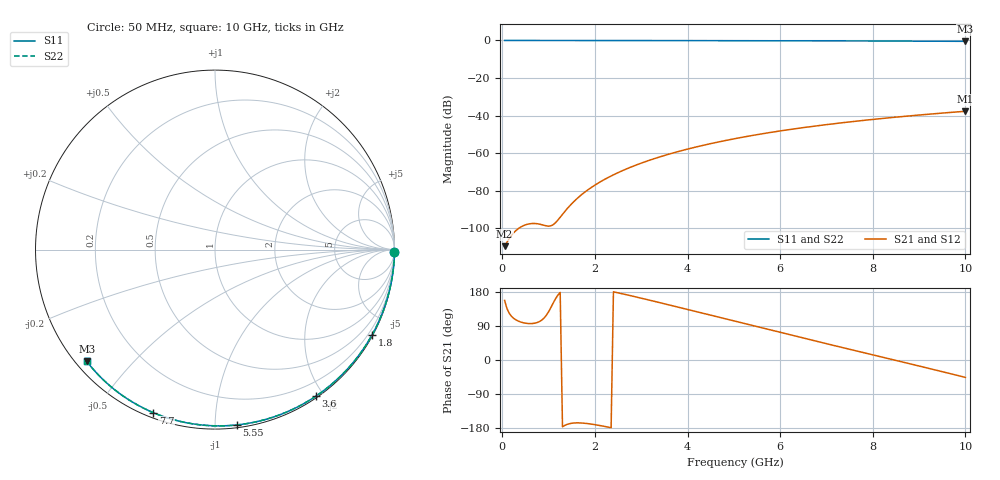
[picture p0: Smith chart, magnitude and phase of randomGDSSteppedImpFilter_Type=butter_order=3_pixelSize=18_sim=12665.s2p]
! freq	dB(S11)	phase(S11)	dB(S12)	phase(S12)
!  dB(S21)	phase(S21)	dB(S22)	phase(S22)
!S-par simulation data
#  GHz  S  DB  R 50
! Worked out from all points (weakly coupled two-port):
!   200 points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, 50 MHz to 10 GHz, reference 50 ohm
!   highest |S21| = -37.75 dB at 10 GHz (marker M1); lowest = -109.6 dB at 50 MHz (marker M2)
!   lowest |S11| = -0.5 dB at 10 GHz (marker M3), VSWR 37.35, Z = 1.53 - j18.7 ohm
!   |S11| at or under -10 dB: nowhere
!   |S22| runs from -0.5 to 0.0 dB; largest |S21 - S12| = 0
!   S11 on the Smith chart (normalised r, x): 50 MHz: open; 1.8 GHz: 0.03, -3.94; 3.6 GHz: 0.02, -1.90; 5.55 GHz: 0.02, -1.13; 7.7 GHz: 0.02, -0.69; 10 GHz: 0.03, -0.37
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0.05  -0.00 -0.8  -109.64 157.3  -109.64 157.3  -0.00 -0.8
0.45  -0.01 -7.2  -98.78 98.4  -98.78 98.4  -0.01 -7.2
0.9  -0.02 -14.4  -98.51 110.5  -98.51 110.5  -0.02 -14.4
1.75  -0.04 -27.7  -81.44 -166.6  -81.44 -166.6  -0.04 -27.7
1.8  -0.04 -28.5  -80.49 -167.2  -80.49 -167.2  -0.04 -28.5
1.85  -0.04 -29.2  -79.59 -167.9  -79.59 -167.9  -0.04 -29.2
2.05  -0.04 -32.3  -76.32 -171.6  -76.32 -171.6  -0.04 -32.3
2.25  -0.05 -35.4  -73.50 -176.3  -73.50 -176.3  -0.05 -35.4
2.55  -0.05 -39.9  -69.87 175.9  -69.87 175.9  -0.05 -39.9
2.95  -0.06 -46.0  -65.84 164.6  -65.84 164.6  -0.06 -46.0
3.4  -0.07 -52.6  -62.06 151.4  -62.06 151.4  -0.07 -52.6
3.6  -0.07 -55.6  -60.58 145.4  -60.58 145.4  -0.07 -55.6
3.9  -0.08 -59.9  -58.54 136.4  -58.54 136.4  -0.08 -59.9
4.3  -0.09 -65.6  -56.10 124.3  -56.10 124.3  -0.09 -65.6
5.05  -0.12 -76.1  -52.21 101.6  -52.21 101.6  -0.12 -76.1
5.55  -0.14 -82.9  -50.00 86.5  -50.00 86.5  -0.14 -82.9
6.1  -0.16 -90.2  -47.85 69.9  -47.85 69.9  -0.16 -90.2
6.7  -0.19 -98.0  -45.79 51.9  -45.79 51.9  -0.19 -98.0
7.7  -0.25 -110.7  -42.87 22.4  -42.87 22.4  -0.25 -110.7
8.35  -0.30 -118.7  -41.23 3.3  -41.23 3.3  -0.30 -118.7
9.2  -0.38 -129.1  -39.32 -21.8  -39.32 -21.8  -0.38 -129.1
10  -0.47 -138.9  -37.75 -46.0  -37.75 -46.0  -0.47 -138.9
